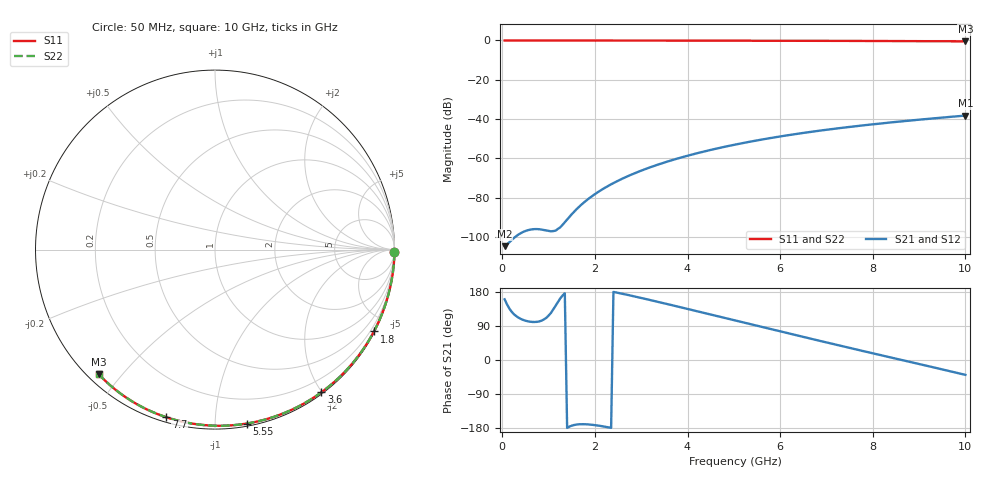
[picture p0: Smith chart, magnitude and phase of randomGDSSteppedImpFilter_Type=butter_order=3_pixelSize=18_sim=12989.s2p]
! freq	dB(S11)	phase(S11)	dB(S12)	phase(S12)
!  dB(S21)	phase(S21)	dB(S22)	phase(S22)
!S-par simulation data
#  GHz  S  DB  R 50
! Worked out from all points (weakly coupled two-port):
!   200 points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, 50 MHz to 10 GHz, reference 50 ohm
!   highest |S21| = -38.21 dB at 10 GHz (marker M1); lowest = -104.6 dB at 50 MHz (marker M2)
!   lowest |S11| = -0.4 dB at 10 GHz (marker M3), VSWR 38.79, Z = 1.53 - j21.7 ohm
!   |S11| at or under -10 dB: nowhere
!   |S22| runs from -0.4 to 0.0 dB; largest |S21 - S12| = 0
!   S11 on the Smith chart (normalised r, x): 50 MHz: open; 1.8 GHz: 0.04, -4.12; 3.6 GHz: 0.02, -1.99; 5.55 GHz: 0.02, -1.20; 7.7 GHz: 0.02, -0.75; 10 GHz: 0.03, -0.43
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0.05  -0.00 -0.8  -104.63 160.2  -104.63 160.2  -0.00 -0.8
0.45  -0.01 -6.9  -97.39 105.8  -97.39 105.8  -0.01 -6.9
0.9  -0.02 -13.8  -96.42 107.2  -96.42 107.2  -0.02 -13.8
1.75  -0.03 -26.5  -82.65 -169.4  -82.65 -169.4  -0.03 -26.5
1.8  -0.03 -27.3  -81.67 -169.5  -81.67 -169.5  -0.03 -27.3
1.9  -0.04 -28.7  -79.84 -170.4  -79.84 -170.4  -0.04 -28.7
2.05  -0.04 -31.0  -77.36 -172.7  -77.36 -172.7  -0.04 -31.0
2.25  -0.04 -33.9  -74.46 -176.8  -74.46 -176.8  -0.04 -33.9
2.45  -0.05 -36.8  -71.92 178.5  -71.92 178.5  -0.05 -36.8
2.65  -0.05 -39.7  -69.66 173.3  -69.66 173.3  -0.05 -39.7
3  -0.06 -44.8  -66.20 163.7  -66.20 163.7  -0.06 -44.8
3.4  -0.07 -50.5  -62.84 152.3  -62.84 152.3  -0.07 -50.5
3.6  -0.07 -53.3  -61.34 146.5  -61.34 146.5  -0.07 -53.3
4.3  -0.09 -63.0  -56.80 125.9  -56.80 125.9  -0.09 -63.0
5.05  -0.11 -73.0  -52.86 103.7  -52.86 103.7  -0.11 -73.0
5.55  -0.13 -79.6  -50.62 88.9  -50.62 88.9  -0.13 -79.6
6.1  -0.15 -86.6  -48.45 72.7  -48.45 72.7  -0.15 -86.6
6.7  -0.18 -94.1  -46.37 55.1  -46.37 55.1  -0.18 -94.1
7.7  -0.24 -106.3  -43.43 26.2  -43.43 26.2  -0.24 -106.3
8.35  -0.29 -113.9  -41.79 7.7  -41.79 7.7  -0.29 -113.9
9.15  -0.36 -123.2  -39.97 -14.8  -39.97 -14.8  -0.36 -123.2
10  -0.45 -133.0  -38.21 -39.2  -38.21 -39.2  -0.45 -133.0
